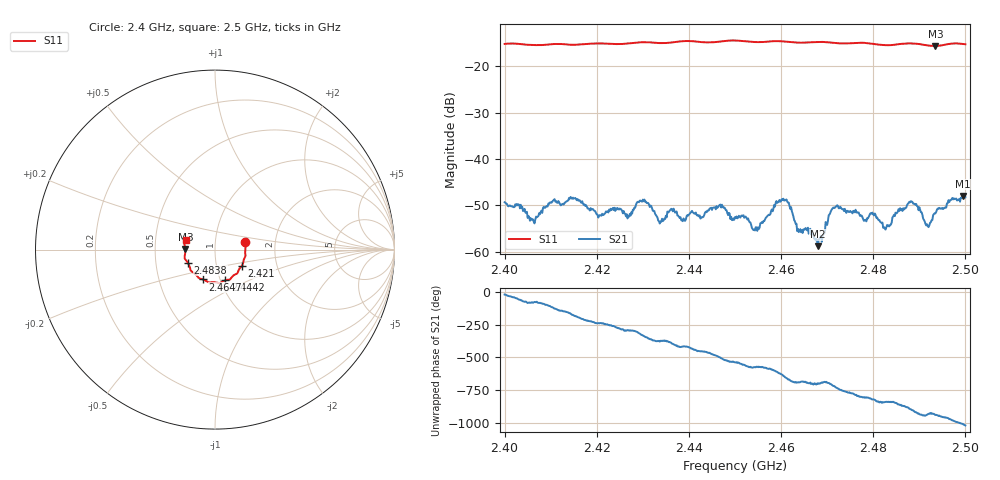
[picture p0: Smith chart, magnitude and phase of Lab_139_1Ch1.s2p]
# Hz S RI R 50
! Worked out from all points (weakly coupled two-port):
!   601 points, 2.4 GHz to 2.5 GHz, reference 50 ohm
!   highest |S21| = -47.97 dB at 2.4995 GHz (marker M1); lowest = -58.8 dB at 2.468 GHz (marker M2)
!   lowest |S11| = -15.6 dB at 2.4935 GHz (marker M3), VSWR 1.40, Z = 35.8 + j0.184 ohm
!   |S11| at or under -10 dB: start of sweep to end of sweep
!   S12 and S22 are empty: the file has one direction only
!   S11 on the Smith chart (normalised r, x): 2.4 GHz: 1.40, +0.12; 2.421 GHz: 1.33, -0.24; 2.4442 GHz: 1.05, -0.37; 2.4647 GHz: 0.83, -0.29; 2.4838 GHz: 0.73, -0.11; 2.5 GHz: 0.71, +0.08
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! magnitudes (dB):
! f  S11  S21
! 2.4 GHz  -15.2  -49.3
! 2.406 GHz  -15.4  -53.0
! 2.4103 GHz  -15.3  -49.3
! 2.4167 GHz  -15.3  -49.4
! 2.421 GHz  -15.1  -52.2
! 2.4298 GHz  -14.8  -49.2
! 2.4333 GHz  -15.0  -53.3
! 2.4442 GHz  -14.9  -51.2
! 2.45 GHz  -14.5  -52.5
! 2.4547 GHz  -14.8  -54.8
! 2.4607 GHz  -14.7  -49.0
! 2.4647 GHz  -14.9  -56.0
! 2.4667 GHz  -14.8  -55.8
! 2.468 GHz  -14.8  -58.8
! 2.4718 GHz  -15.0  -50.3
! 2.4833 GHz  -15.5  -54.5
! 2.4838 GHz  -15.5  -54.2
! 2.488 GHz  -15.1  -49.3
! 2.4917 GHz  -15.5  -54.1
! 2.4935 GHz  -15.6  -51.7
! 2.4995 GHz  -15.2  -48.0
! 2.5 GHz  -15.3  -48.3
